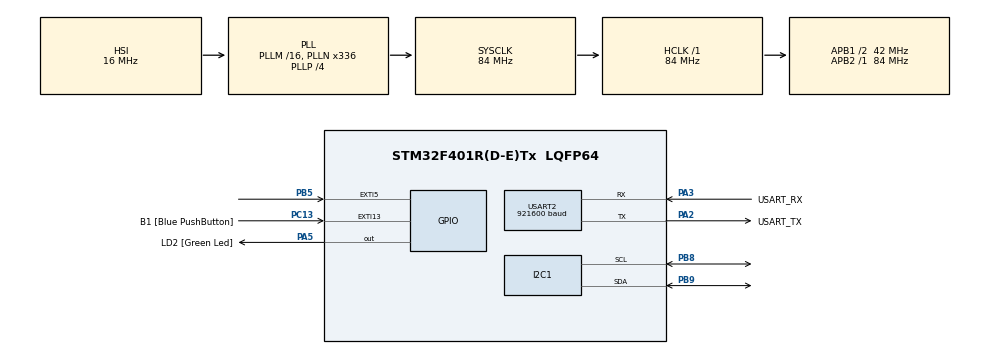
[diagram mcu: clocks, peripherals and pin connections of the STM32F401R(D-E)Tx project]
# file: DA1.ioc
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I2C1.I2C_Mode=I2C_Fast
Mcu.Family=STM32F4
Mcu.Name=STM32F401R(D-E)Tx
Mcu.Package=LQFP64
NVIC.EXTI9_5_IRQn=true\:0\:0\:false\:false\:true\:true\:true\:true
NVIC.PriorityGroup=NVIC_PRIORITYGROUP_4
PA13.GPIO_Label=TMS
PA13.Mode=Trace_Asynchronous_SW
PA13.Signal=SYS_JTMS-SWDIO
PA14.GPIO_Label=TCK
PA14.Mode=Trace_Asynchronous_SW
PA14.Signal=SYS_JTCK-SWCLK
PA2.GPIO_Label=USART_TX
PA2.GPIO_Mode=GPIO_MODE_AF_PP
PA2.GPIO_PuPd=GPIO_NOPULL
PA2.GPIO_Speed=GPIO_SPEED_FREQ_LOW
PA2.Mode=Asynchronous
PA2.Signal=USART2_TX
PA3.GPIO_Label=USART_RX
PA3.GPIO_Mode=GPIO_MODE_AF_PP
PA3.GPIO_PuPd=GPIO_NOPULL
PA3.GPIO_Speed=GPIO_SPEED_FREQ_LOW
PA3.Mode=Asynchronous
PA3.Signal=USART2_RX
PA5.GPIO_Label=LD2 [Green Led]
PA5.GPIO_Mode=GPIO_MODE_OUTPUT_PP
PA5.GPIO_PuPd=GPIO_NOPULL
PA5.GPIO_Speed=GPIO_SPEED_FREQ_LOW
PA5.Signal=GPIO_Output
PB3.GPIO_Label=SWO
PB3.Mode=Trace_Asynchronous_SW
PB3.Signal=SYS_JTDO-SWO
PB5.Signal=GPXTI5
PB8.Mode=I2C
PB8.Signal=I2C1_SCL
PB9.Mode=I2C
PB9.Signal=I2C1_SDA
PC13-ANTI_TAMP.GPIO_Label=B1 [Blue PushButton]
PC13-ANTI_TAMP.GPIO_ModeDefaultEXTI=GPIO_MODE_IT_FALLING
PC13-ANTI_TAMP.GPIO_PuPd=GPIO_NOPULL
PC13-ANTI_TAMP.Signal=GPXTI13
PC14-OSC32_IN.Mode=LSE-External-Oscillator
PC14-OSC32_IN.Signal=RCC_OSC32_IN
PC15-OSC32_OUT.Mode=LSE-External-Oscillator
PC15-OSC32_OUT.Signal=RCC_OSC32_OUT
PH0\ -\ OSC_IN.Mode=HSE-External-Clock-Source
PH0\ -\ OSC_IN.Signal=RCC_OSC_IN
PH1\ -\ OSC_OUT.Mode=HSE-External-Clock-Source
PH1\ -\ OSC_OUT.Signal=RCC_OSC_OUT
ProjectManager.HeapSize=0x200
ProjectManager.StackSize=0x400
ProjectManager.TargetToolchain=STM32CubeIDE
RCC.48MHZClocksFreq_Value=48000000
RCC.AHBFreq_Value=84000000
RCC.APB1CLKDivider=RCC_HCLK_DIV2
RCC.APB1Freq_Value=42000000
RCC.APB1TimFreq_Value=84000000
RCC.APB2Freq_Value=84000000
RCC.APB2TimFreq_Value=84000000
RCC.CortexFreq_Value=84000000
RCC.HCLKFreq_Value=84000000
RCC.HSE_VALUE=8000000
RCC.HSI_VALUE=16000000
RCC.PLLN=336
RCC.PLLP=RCC_PLLP_DIV4
RCC.PLLQ=7
RCC.SYSCLKFreq_VALUE=84000000
RCC.SYSCLKSource=RCC_SYSCLKSOURCE_PLLCLK
RCC.VCOOutputFreq_Value=336000000
TIM2.Prescaler=83
USART2.BaudRate=921600
USART2.VirtualMode=VM_ASYNC
VP_TIM2_VS_ClockSourceINT.Mode=Internal
board=NUCLEO-F401RE

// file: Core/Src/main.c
/* USER CODE BEGIN Header */
/**
  ******************************************************************************
  * @file           : main.c
  * @brief          : Main program body
  ******************************************************************************
  * @attention
  *
  * Copyright (c) 2026 STMicroelectronics.
  * All rights reserved.
  *
  * This software is licensed under terms that can be found in the LICENSE file
  * in the root directory of this software component.
  * If no LICENSE file comes with this software, it is provided AS-IS.
  *
  ******************************************************************************
  */
/* USER CODE END Header */
#include "main.h"

/* USER CODE BEGIN Includes */
#include <stdio.h>
#include <string.h>
#include <math.h>
/* USER CODE END Includes */

/* USER CODE BEGIN PD */

/* ---- Build mode -----------------------------------------------------------
 * CAL_MODE 1 : stream min/max/sum trackers for manual calibration
 * CAL_MODE 0 : stream full CSV (raw, Euler, quaternion) for data collection
 */
#define CAL_MODE            0

/* ---- LSM6DSV16X (accel + gyro) -------------------------------------------- */
#define LSM6DSV16X_ADDR         (0x6BU << 1)   /* 0xD4 */
#define LSM6DSV16X_WHO_AM_I     0x0FU
#define LSM6DSV16X_EXPECTED_ID  0x70U
#define LSM6DSV16X_INT1_CTRL    0x0DU
#define LSM6DSV16X_CTRL1_XL     0x10U   /* accel op-mode + ODR          */
#define LSM6DSV16X_CTRL2_G      0x11U   /* gyro  op-mode + ODR          */
#define LSM6DSV16X_CTRL3        0x12U   /* BDU, IF_INC                  */
#define LSM6DSV16X_CTRL6        0x15U   /* gyro  full-scale + LPF1 BW   */
#define LSM6DSV16X_CTRL8        0x17U   /* accel full-scale + filter BW */
#define LSM6DSV16X_STATUS_REG   0x1EU
#define LSM6DSV16X_OUTX_L_G     0x22U   /* gyro X..Z then accel X..Z    */

/* CTRL1_XL / CTRL2_G: bits[6:4] = op mode (000 = high-performance)
 *                     bits[3:0] = ODR
 *   0x07 = 240 Hz   0x08 = 480 Hz   0x09 = 960 Hz   0x0A = 1920 Hz
 *   0x0B = 3840 Hz  0x0C = 7680 Hz (HP mode only)                       */
#define LSM6DSV16X_ODR_HP_240HZ   0x07U
#define LSM6DSV16X_ODR_HP_480HZ   0x08U
#define LSM6DSV16X_ODR_HP_960HZ   0x09U
#define LSM6DSV16X_ODR_HP_1920HZ  0x0AU

#define IMU_ODR_REG_VALUE       LSM6DSV16X_ODR_HP_240HZ  /* raise later */

/* CTRL8 FS_XL[1:0]: 00=±2g 01=±4g 10=±8g 11=±16g */
#define LSM6DSV16X_FS_XL_8G     0x02U
/* CTRL6 FS_G[3:0]: 0000=±125 0001=±250 0010=±500 0011=±1000 0100=±2000 dps */
#define LSM6DSV16X_FS_G_2000DPS 0x04U

/* Sensitivities matching the full-scales above */
#define ACC_SENS_MS2_PER_LSB    (0.244e-3f * 9.80665f)  /* ±8 g    */
#define GYRO_SENS_DPS_PER_LSB   0.070f                  /* ±2000 dps */
#define MAG_SENS_UT_PER_LSB     0.15f                   /* LIS2MDL fixed */

/* ---- LIS2MDL (magnetometer) ----------------------------------------------- */
#define LIS2MDL_ADDR        (0x1EU << 1)  /* 0x3C */
#define LIS2MDL_WHO_AM_I    0x4FU
#define LIS2MDL_EXPECTED_ID 0x40U
#define LIS2MDL_CFG_REG_A   0x60U
#define LIS2MDL_CFG_REG_B   0x61U
#define LIS2MDL_CFG_REG_C   0x62U
#define LIS2MDL_STATUS_REG  0x67U
#define LIS2MDL_OUTX_L      0x68U
#define LIS2MDL_NEW_XYZ     0x08U
#define MAG_I2C_TIMEOUT_MS  100U

/* If no DRDY interrupt arrives within this many ms, fall back to polling
 * so the loop never hangs while you debug the INT1 wiring. */
#define DRDY_TIMEOUT_MS     20U

/* USER CODE END PD */

I2C_HandleTypeDef hi2c1;

TIM_HandleTypeDef htim2;

UART_HandleTypeDef huart2;

/* USER CODE BEGIN PV */
#define PI    3.14159265f
#define ALPHA 0.98f
#define G_MS2 9.80665f

/* Interrupt bookkeeping (shared with ISR -> volatile) */
volatile uint8_t  imu_data_ready    = 0;
volatile uint32_t imu_irq_count     = 0;
volatile uint32_t drdy_timeout_count = 0;

float roll = 0.0f;
float pitch = 0.0f;
float yaw = 0.0f;
uint32_t lastTick = 0;

/* Initial state: no rotation (identity quaternion) */
float q_w = 1.0f;
float q_x = 0.0f;
float q_y = 0.0f;
float q_z = 0.0f;

float gyro_x_sum = 0.0f, gyro_y_sum = 0.0f, gyro_z_sum = 0.0f;
uint32_t gyro_sample_count = 0;

/* Accelerometer max/min trackers */
float ax_max = -999.0f, ax_min = 999.0f;
float ay_max = -999.0f, ay_min = 999.0f;
float az_max = -999.0f, az_min = 999.0f;

/* Magnetometer max/min trackers */
float mx_max = -9999.0f, mx_min = 9999.0f;
float my_max = -9999.0f, my_min = 9999.0f;
float mz_max = -9999.0f, mz_min = 9999.0f;

// ---- Calibration constants -----------------------------------------------

// s = (max - min)/2
// b = (max + min)/2
float acc_x_bias = -0.019;
float acc_x_scale = 0.088; // 1/11.337

float acc_y_bias = -0.153;
float acc_y_scale = 0.0964; // 1/10.373

float acc_z_bias = 0.250;
float acc_z_scale = 0.0798; // 1/12.53

float mag_x_bias = -38.025;
float mag_x_scale = 0.912; // 1/1.096

float mag_y_bias = 8.55;
float mag_y_scale = 1.019; // 1/0.981

float mag_z_bias = -7.275;
float mag_z_scale = 1.0835; // 1/0.9229

float gyro_x_bias = 2.89;
float gyro_y_bias = -4.43;
float gyro_z_bias = -3.63;

/* USER CODE END PV */

void SystemClock_Config(void);
static void MX_GPIO_Init(void);
static void MX_I2C1_Init(void);
static void MX_USART2_UART_Init(void);
static void MX_TIM2_Init(void);
/* USER CODE BEGIN PFP */
static HAL_StatusTypeDef IMU_WriteReg(uint16_t dev, uint8_t reg, uint8_t val);
static HAL_StatusTypeDef IMU_ReadReg(uint16_t dev, uint8_t reg, uint8_t *val);
static void UART_Print(const char *s);
static float WrapDeg(float a);
/* USER CODE END PFP */

/* USER CODE BEGIN 0 */
static HAL_StatusTypeDef IMU_WriteReg(uint16_t dev, uint8_t reg, uint8_t val)
{
  return HAL_I2C_Mem_Write(&hi2c1, dev, reg, I2C_MEMADD_SIZE_8BIT, &val, 1, HAL_MAX_DELAY);
}

static HAL_StatusTypeDef IMU_ReadReg(uint16_t dev, uint8_t reg, uint8_t *val)
{
  return HAL_I2C_Mem_Read(&hi2c1, dev, reg, I2C_MEMADD_SIZE_8BIT, val, 1, HAL_MAX_DELAY);
}

static void UART_Print(const char *s)
{
  HAL_UART_Transmit(&huart2, (uint8_t*)s, strlen(s), HAL_MAX_DELAY);
}

static float WrapDeg(float a)
{
  while (a >  180.0f) a -= 360.0f;
  while (a < -180.0f) a += 360.0f;
  return a;
}
/* USER CODE END 0 */

int main(void)
{

  /* USER CODE BEGIN 1 */
  uint8_t raw_data[12];
  uint8_t mag_raw_data[7];          /* STATUS + 6 data bytes in one read */
  int16_t gyro_x, gyro_y, gyro_z;
  int16_t accel_x, accel_y, accel_z;
  int16_t mag_x = 0, mag_y = 0, mag_z = 0;
  char uart_buff[256];

  float gyro_x_dps, gyro_y_dps, gyro_z_dps;
  float accel_x_ms2, accel_y_ms2, accel_z_ms2;
  float mag_x_uT = 0.0f, mag_y_uT = 0.0f, mag_z_uT = 0.0f;
  uint8_t who = 0;
  /* USER CODE END 1 */

  /* MCU Configuration--------------------------------------------------------*/

  /* Reset of all peripherals, Initializes the Flash interface and the Systick. */
  HAL_Init();

  /* Configure the system clock */
  SystemClock_Config();

  /* Initialize all configured peripherals */
  MX_GPIO_Init();
  MX_I2C1_Init();
  MX_USART2_UART_Init();
  MX_TIM2_Init();
  /* USER CODE BEGIN 2 */
  HAL_TIM_Base_Start(&htim2);

  /* ---- Sanity check: are both sensors on the bus? ---- */
  if (IMU_ReadReg(LSM6DSV16X_ADDR, LSM6DSV16X_WHO_AM_I, &who) != HAL_OK || who != LSM6DSV16X_EXPECTED_ID)
  {
    snprintf(uart_buff, sizeof(uart_buff), "ERR: LSM6DSV16X WHO_AM_I = 0x%02X (expected 0x70)\r\n", who);
    UART_Print(uart_buff);
    Error_Handler();
  }
  if (IMU_ReadReg(LIS2MDL_ADDR, LIS2MDL_WHO_AM_I, &who) != HAL_OK || who != LIS2MDL_EXPECTED_ID)
  {
    snprintf(uart_buff, sizeof(uart_buff), "ERR: LIS2MDL WHO_AM_I = 0x%02X (expected 0x40)\r\n", who);
    UART_Print(uart_buff);
    Error_Handler();
  }

  /* ---- LSM6DSV16X configuration ----
   * Order matters: set full-scale and BDU first, then turn on ODR, then
   * route DRDY to INT1. */
  IMU_WriteReg(LSM6DSV16X_ADDR, LSM6DSV16X_CTRL3,    0x44);   /* BDU=1, IF_INC=1 (auto-increment) */
  IMU_WriteReg(LSM6DSV16X_ADDR, LSM6DSV16X_CTRL8,    LSM6DSV16X_FS_XL_8G);
  IMU_WriteReg(LSM6DSV16X_ADDR, LSM6DSV16X_CTRL6,    LSM6DSV16X_FS_G_2000DPS);
  IMU_WriteReg(LSM6DSV16X_ADDR, LSM6DSV16X_CTRL1_XL, IMU_ODR_REG_VALUE);   /* HP mode, 240 Hz */
  IMU_WriteReg(LSM6DSV16X_ADDR, LSM6DSV16X_CTRL2_G,  IMU_ODR_REG_VALUE);   /* HP mode, 240 Hz */
  HAL_Delay(50);   /* let the gyro settle */

  /* INT1_CTRL: bit0 = INT1_DRDY_XL, bit1 = INT1_DRDY_G */
  IMU_WriteReg(LSM6DSV16X_ADDR, LSM6DSV16X_INT1_CTRL, 0x03);

  /* ---- LIS2MDL configuration ----
   * CFG_REG_A = 0x8C : COMP_TEMP_EN=1, ODR=100 Hz, continuous mode
   * CFG_REG_C = 0x10 : BDU=1 */
  IMU_WriteReg(LIS2MDL_ADDR, LIS2MDL_CFG_REG_A, 0x8C);
  IMU_WriteReg(LIS2MDL_ADDR, LIS2MDL_CFG_REG_C, 0x10);
  HAL_Delay(50);

  /* Clear any stale interrupt/data, then start timing */
  HAL_I2C_Mem_Read(&hi2c1, LSM6DSV16X_ADDR, LSM6DSV16X_OUTX_L_G, I2C_MEMADD_SIZE_8BIT, raw_data, 12, HAL_MAX_DELAY);
  imu_data_ready = 0;
  lastTick = __HAL_TIM_GET_COUNTER(&htim2);

#if CAL_MODE
  UART_Print("ax_min,ax_max,ay_min,ay_max,az_min,az_max,mx_min,mx_max,my_min,my_max,mz_min,mz_max,gx_sum,gy_sum,gz_sum,n\r\n");
#else
  UART_Print("t_us,ax,ay,az,gx,gy,gz,mx,my,mz,roll,pitch,yaw,qw,qx,qy,qz\r\n");
#endif
  /* USER CODE END 2 */

  /* Infinite loop */
  /* USER CODE BEGIN WHILE */
  while (1)
  {
    /* ---- Blue button (PC13): reset calibration trackers ---- */
    if (HAL_GPIO_ReadPin(B1_GPIO_Port, B1_Pin) == GPIO_PIN_RESET)
    {
      ax_max = -999.0f;  ax_min = 999.0f;
      ay_max = -999.0f;  ay_min = 999.0f;
      az_max = -999.0f;  az_min = 999.0f;
      mx_max = -9999.0f; mx_min = 9999.0f;
      my_max = -9999.0f; my_min = 9999.0f;
      mz_max = -9999.0f; mz_min = 9999.0f;
      gyro_x_sum = 0.0f; gyro_y_sum = 0.0f; gyro_z_sum = 0.0f;
      gyro_sample_count = 0;
      HAL_Delay(200);   // debounce
    }

    /* ---- Wait for DRDY interrupt (with polling fallback) ---- */
    uint32_t wait_start = HAL_GetTick();
    while (!imu_data_ready)
    {
      if ((HAL_GetTick() - wait_start) >= DRDY_TIMEOUT_MS)
      {
        /* No interrupt arrived. Either INT1 is not wired to PB5, or the
         * sensor is not sampling. Poll STATUS_REG so we keep running. */
        uint8_t status = 0;
        IMU_ReadReg(LSM6DSV16X_ADDR, LSM6DSV16X_STATUS_REG, &status);
        drdy_timeout_count++;
        if (status & 0x03) break;      /* XLDA or GDA set -> data available */
        wait_start = HAL_GetTick();
      }
    }
    imu_data_ready = 0;

    /* Timestamp as close to the sample as possible */
    uint32_t currentTick = __HAL_TIM_GET_COUNTER(&htim2);
    uint32_t elapsedTick = currentTick - lastTick;   /* uint32 wrap-safe */
    lastTick = currentTick;
    float dt = (float)elapsedTick / 1000000.0f;
    if (dt <= 0.0f || dt > 0.5f) dt = 1.0f / 240.0f;

    /* ---- Read 12 bytes: gyro X,Y,Z then accel X,Y,Z ---- */
    if (HAL_I2C_Mem_Read(&hi2c1, LSM6DSV16X_ADDR, LSM6DSV16X_OUTX_L_G,
                         I2C_MEMADD_SIZE_8BIT, raw_data, 12, HAL_MAX_DELAY) != HAL_OK)
    {
      continue;
    }

    /* ---- Read mag STATUS + 6 data bytes in one transaction.
     * Only update mag values when the sensor flags new XYZ data (mag runs
     * at 100 Hz, IMU at 240 Hz+), otherwise reuse the last sample. ---- */
    if (HAL_I2C_Mem_Read(&hi2c1, LIS2MDL_ADDR, LIS2MDL_STATUS_REG,
                         I2C_MEMADD_SIZE_8BIT, mag_raw_data, sizeof(mag_raw_data),
                         MAG_I2C_TIMEOUT_MS) == HAL_OK
        && (mag_raw_data[0] & LIS2MDL_NEW_XYZ))
    {
      mag_x = (int16_t)((uint16_t)mag_raw_data[1] | ((uint16_t)mag_raw_data[2] << 8));
      mag_y = (int16_t)((uint16_t)mag_raw_data[3] | ((uint16_t)mag_raw_data[4] << 8));
      mag_z = (int16_t)((uint16_t)mag_raw_data[5] | ((uint16_t)mag_raw_data[6] << 8));
      mag_x_uT = (float)mag_x * MAG_SENS_UT_PER_LSB;
      mag_y_uT = (float)mag_y * MAG_SENS_UT_PER_LSB;
      mag_z_uT = (float)mag_z * MAG_SENS_UT_PER_LSB;
    }

    /* Reconstruct little-endian 16-bit values */
    gyro_x  = (int16_t)((uint16_t)raw_data[0]  | ((uint16_t)raw_data[1]  << 8));
    gyro_y  = (int16_t)((uint16_t)raw_data[2]  | ((uint16_t)raw_data[3]  << 8));
    gyro_z  = (int16_t)((uint16_t)raw_data[4]  | ((uint16_t)raw_data[5]  << 8));
    accel_x = (int16_t)((uint16_t)raw_data[6]  | ((uint16_t)raw_data[7]  << 8));
    accel_y = (int16_t)((uint16_t)raw_data[8]  | ((uint16_t)raw_data[9]  << 8));
    accel_z = (int16_t)((uint16_t)raw_data[10] | ((uint16_t)raw_data[11] << 8));

    /* Scale to physical units */
    gyro_x_dps  = (float)gyro_x  * GYRO_SENS_DPS_PER_LSB;
    gyro_y_dps  = (float)gyro_y  * GYRO_SENS_DPS_PER_LSB;
    gyro_z_dps  = (float)gyro_z  * GYRO_SENS_DPS_PER_LSB;
    accel_x_ms2 = (float)accel_x * ACC_SENS_MS2_PER_LSB;
    accel_y_ms2 = (float)accel_y * ACC_SENS_MS2_PER_LSB;
    accel_z_ms2 = (float)accel_z * ACC_SENS_MS2_PER_LSB;

    /* ---- Apply calibration (bias subtract, then scale multiply) ---- */
    float accel_x_true = (accel_x_ms2 - acc_x_bias) * acc_x_scale * G_MS2;
    float accel_y_true = (accel_y_ms2 - acc_y_bias) * acc_y_scale * G_MS2;
    float accel_z_true = (accel_z_ms2 - acc_z_bias) * acc_z_scale * G_MS2;

    float mag_x_true = (mag_x_uT - mag_x_bias) * mag_x_scale;
    float mag_y_true = (mag_y_uT - mag_y_bias) * mag_y_scale;
    float mag_z_true = (mag_z_uT - mag_z_bias) * mag_z_scale;

    float gyro_x_true = gyro_x_dps - gyro_x_bias;
    float gyro_y_true = gyro_y_dps - gyro_y_bias;
    float gyro_z_true = gyro_z_dps - gyro_z_bias;

    /* ---- Accelerometer static angles ---- */
    float roll_acc  = atan2f(accel_y_true, accel_z_true) * (180.0f / PI);
    float pitch_acc = atan2f(-accel_x_true,
                             sqrtf(accel_y_true * accel_y_true + accel_z_true * accel_z_true)) * (180.0f / PI);

    /* ---- Complementary filter: roll & pitch ---- */
    roll  = ALPHA * (roll  + gyro_x_true * dt) + (1.0f - ALPHA) * roll_acc;
    pitch = ALPHA * (pitch + gyro_y_true * dt) + (1.0f - ALPHA) * pitch_acc;

    float phi   = roll  * (PI / 180.0f);
    float theta = pitch * (PI / 180.0f);

    /* ---- Tilt-compensated magnetic heading ----
     * Standard formulation (NED-style, x forward, y right, z down):
     *   Xh =  mx*cos(theta) + mz*sin(theta)
     *   Yh =  mx*sin(phi)*sin(theta) + my*cos(phi) - mz*sin(phi)*cos(theta)
     *   psi = atan2(-Yh, Xh)
     * If yaw moves the wrong direction or is offset by 90/180 deg, the LIS2MDL
     * axes on the shield are not aligned with the LSM6DSV16X axes -- swap or
     * negate mx/my/mz here to match. */
    float Xh = mag_x_true * cosf(theta) + mag_z_true * sinf(theta);
    float Yh = mag_x_true * sinf(phi) * sinf(theta) + mag_y_true * cosf(phi)
             - mag_z_true * sinf(phi) * cosf(theta);
    float psi = atan2f(-Yh, Xh) * (180.0f / PI);

    /* Complementary filter on yaw, blending through the ±180 wrap correctly */
    float yaw_gyro = yaw + gyro_z_true * dt;
    float yaw_err  = WrapDeg(psi - yaw_gyro);
    yaw = WrapDeg(yaw_gyro + (1.0f - ALPHA) * yaw_err);

    roll  = WrapDeg(roll);
    pitch = WrapDeg(pitch);

    /* ---- Quaternion ---- */
    /* 1. gyro rates in rad/s */
    float wx = gyro_x_true * (PI / 180.0f);
    float wy = gyro_y_true * (PI / 180.0f);
    float wz = gyro_z_true * (PI / 180.0f);

    /* 2. quaternion derivative  q_dot = 0.5 * q (x) [0, w] */
    float q_dot_w = 0.5f * (-q_x * wx - q_y * wy - q_z * wz);
    float q_dot_x = 0.5f * ( q_w * wx + q_y * wz - q_z * wy);
    float q_dot_y = 0.5f * ( q_w * wy - q_x * wz + q_z * wx);
    float q_dot_z = 0.5f * ( q_w * wz + q_x * wy - q_y * wx);

    /* 3. gyro-propagated quaternion */
    float qg_w = q_w + q_dot_w * dt;
    float qg_x = q_x + q_dot_x * dt;
    float qg_y = q_y + q_dot_y * dt;
    float qg_z = q_z + q_dot_z * dt;

    /* 4. reference quaternion from fused Euler angles (half angles) */
    float r_half = roll  * (PI / 360.0f);
    float p_half = pitch * (PI / 360.0f);
    float y_half = yaw   * (PI / 360.0f);
    float cr = cosf(r_half), sr = sinf(r_half);
    float cp = cosf(p_half), sp = sinf(p_half);
    float cy = cosf(y_half), sy = sinf(y_half);

    float qa_w = cy * cp * cr + sy * sp * sr;
    float qa_x = cy * cp * sr - sy * sp * cr;
    float qa_y = cy * sp * cr + sy * cp * sr;
    float qa_z = sy * cp * cr - cy * sp * sr;

    /* 5. blend (keep both on the same hemisphere so the average is sane) */
    if ((qg_w * qa_w + qg_x * qa_x + qg_y * qa_y + qg_z * qa_z) < 0.0f)
    {
      qa_w = -qa_w; qa_x = -qa_x; qa_y = -qa_y; qa_z = -qa_z;
    }
    q_w = ALPHA * qg_w + (1.0f - ALPHA) * qa_w;
    q_x = ALPHA * qg_x + (1.0f - ALPHA) * qa_x;
    q_y = ALPHA * qg_y + (1.0f - ALPHA) * qa_y;
    q_z = ALPHA * qg_z + (1.0f - ALPHA) * qa_z;

    /* 6. renormalize */
    float norm = sqrtf(q_w * q_w + q_x * q_x + q_y * q_y + q_z * q_z);
    if (norm > 0.0f)
    {
      q_w /= norm; q_x /= norm; q_y /= norm; q_z /= norm;
    }

    /* ---- Calibration trackers (always updated; only printed in CAL_MODE) ---- */
    gyro_x_sum += gyro_x_dps;
    gyro_y_sum += gyro_y_dps;
    gyro_z_sum += gyro_z_dps;
    gyro_sample_count++;

    if (accel_x_ms2 > ax_max) ax_max = accel_x_ms2;
    if (accel_x_ms2 < ax_min) ax_min = accel_x_ms2;
    if (accel_y_ms2 > ay_max) ay_max = accel_y_ms2;
    if (accel_y_ms2 < ay_min) ay_min = accel_y_ms2;
    if (accel_z_ms2 > az_max) az_max = accel_z_ms2;
    if (accel_z_ms2 < az_min) az_min = accel_z_ms2;

    if (mag_x_uT > mx_max) mx_max = mag_x_uT;
    if (mag_x_uT < mx_min) mx_min = mag_x_uT;
    if (mag_y_uT > my_max) my_max = mag_y_uT;
    if (mag_y_uT < my_min) my_min = mag_y_uT;
    if (mag_z_uT > mz_max) mz_max = mag_z_uT;
    if (mag_z_uT < mz_min) mz_min = mag_z_uT;

    /* ---- Output ---- */
#if CAL_MODE
    /* Print at ~10 Hz so the terminal stays readable */
    if ((gyro_sample_count % 24U) == 0U)
    {
      snprintf(uart_buff, sizeof(uart_buff),
               "%.3f,%.3f,%.3f,%.3f,%.3f,%.3f,%.2f,%.2f,%.2f,%.2f,%.2f,%.2f,%.2f,%.2f,%.2f,%lu\r\n",
               ax_min, ax_max, ay_min, ay_max, az_min, az_max,
               mx_min, mx_max, my_min, my_max, mz_min, mz_max,
               gyro_x_sum, gyro_y_sum, gyro_z_sum,
               (unsigned long)gyro_sample_count);
      UART_Print(uart_buff);
    }
#else
    /* Full CSV row: calibrated raw data, Euler angles, quaternion */
    snprintf(uart_buff, sizeof(uart_buff),
             "%.3f,%.3f,%.3f,%.2f,%.2f,%.2f,%.2f,%.2f,%.2f,%.2f,%.2f,%.2f,%.4f,%.4f,%.4f,%.4f\r\n",
             accel_x_true, accel_y_true, accel_z_true,
             gyro_x_true, gyro_y_true, gyro_z_true,
             mag_x_true, mag_y_true, mag_z_true,
             roll, pitch, yaw,
             q_w, q_x, q_y, q_z);
    UART_Print(uart_buff);
#endif

    /* USER CODE END WHILE */

  }
}

void SystemClock_Config(void)
{
  RCC_OscInitTypeDef RCC_OscInitStruct = {0};
  RCC_ClkInitTypeDef RCC_ClkInitStruct = {0};

  /** Configure the main internal regulator output voltage
  */
  __HAL_RCC_PWR_CLK_ENABLE();
  __HAL_PWR_VOLTAGESCALING_CONFIG(PWR_REGULATOR_VOLTAGE_SCALE2);

  /** Initializes the RCC Oscillators according to the specified parameters
  * in the RCC_OscInitTypeDef structure.
  */
  RCC_OscInitStruct.OscillatorType = RCC_OSCILLATORTYPE_HSI;
  RCC_OscInitStruct.HSIState = RCC_HSI_ON;
  RCC_OscInitStruct.HSICalibrationValue = RCC_HSICALIBRATION_DEFAULT;
  RCC_OscInitStruct.PLL.PLLState = RCC_PLL_ON;
  RCC_OscInitStruct.PLL.PLLSource = RCC_PLLSOURCE_HSI;
  RCC_OscInitStruct.PLL.PLLM = 16;
  RCC_OscInitStruct.PLL.PLLN = 336;
  RCC_OscInitStruct.PLL.PLLP = RCC_PLLP_DIV4;
  RCC_OscInitStruct.PLL.PLLQ = 7;
  if (HAL_RCC_OscConfig(&RCC_OscInitStruct) != HAL_OK)
  {
    Error_Handler();
  }

  /** Initializes the CPU, AHB and APB buses clocks
  */
  RCC_ClkInitStruct.ClockType = RCC_CLOCKTYPE_HCLK|RCC_CLOCKTYPE_SYSCLK
                              |RCC_CLOCKTYPE_PCLK1|RCC_CLOCKTYPE_PCLK2;
  RCC_ClkInitStruct.SYSCLKSource = RCC_SYSCLKSOURCE_PLLCLK;
  RCC_ClkInitStruct.AHBCLKDivider = RCC_SYSCLK_DIV1;
  RCC_ClkInitStruct.APB1CLKDivider = RCC_HCLK_DIV2;
  RCC_ClkInitStruct.APB2CLKDivider = RCC_HCLK_DIV1;

  if (HAL_RCC_ClockConfig(&RCC_ClkInitStruct, FLASH_LATENCY_2) != HAL_OK)
  {
    Error_Handler();
  }
}

static void MX_I2C1_Init(void)
{

  hi2c1.Instance = I2C1;
  hi2c1.Init.ClockSpeed = 400000;
  hi2c1.Init.DutyCycle = I2C_DUTYCYCLE_2;
  hi2c1.Init.OwnAddress1 = 0;
  hi2c1.Init.AddressingMode = I2C_ADDRESSINGMODE_7BIT;
  hi2c1.Init.DualAddressMode = I2C_DUALADDRESS_DISABLE;
  hi2c1.Init.OwnAddress2 = 0;
  hi2c1.Init.GeneralCallMode = I2C_GENERALCALL_DISABLE;
  hi2c1.Init.NoStretchMode = I2C_NOSTRETCH_DISABLE;
  if (HAL_I2C_Init(&hi2c1) != HAL_OK)
  {
    Error_Handler();
  }

}

static void MX_TIM2_Init(void)
{

  TIM_ClockConfigTypeDef sClockSourceConfig = {0};
  TIM_MasterConfigTypeDef sMasterConfig = {0};

  htim2.Instance = TIM2;
  htim2.Init.Prescaler = 83;
  htim2.Init.CounterMode = TIM_COUNTERMODE_UP;
  htim2.Init.Period = 4294967295;
  htim2.Init.ClockDivision = TIM_CLOCKDIVISION_DIV1;
  htim2.Init.AutoReloadPreload = TIM_AUTORELOAD_PRELOAD_DISABLE;
  if (HAL_TIM_Base_Init(&htim2) != HAL_OK)
  {
    Error_Handler();
  }
  sClockSourceConfig.ClockSource = TIM_CLOCKSOURCE_INTERNAL;
  if (HAL_TIM_ConfigClockSource(&htim2, &sClockSourceConfig) != HAL_OK)
  {
    Error_Handler();
  }
  sMasterConfig.MasterOutputTrigger = TIM_TRGO_RESET;
  sMasterConfig.MasterSlaveMode = TIM_MASTERSLAVEMODE_DISABLE;
  if (HAL_TIMEx_MasterConfigSynchronization(&htim2, &sMasterConfig) != HAL_OK)
  {
    Error_Handler();
  }

}

static void MX_USART2_UART_Init(void)
{

  huart2.Instance = USART2;
  huart2.Init.BaudRate = 921600;
  huart2.Init.WordLength = UART_WORDLENGTH_8B;
  huart2.Init.StopBits = UART_STOPBITS_1;
  huart2.Init.Parity = UART_PARITY_NONE;
  huart2.Init.Mode = UART_MODE_TX_RX;
  huart2.Init.HwFlowCtl = UART_HWCONTROL_NONE;
  huart2.Init.OverSampling = UART_OVERSAMPLING_16;
  if (HAL_UART_Init(&huart2) != HAL_OK)
  {
    Error_Handler();
  }

}

static void MX_GPIO_Init(void)
{
  GPIO_InitTypeDef GPIO_InitStruct = {0};

  /* GPIO Ports Clock Enable */
  __HAL_RCC_GPIOC_CLK_ENABLE();
  __HAL_RCC_GPIOH_CLK_ENABLE();
  __HAL_RCC_GPIOA_CLK_ENABLE();
  __HAL_RCC_GPIOB_CLK_ENABLE();

  /*Configure GPIO pin Output Level */
  HAL_GPIO_WritePin(LD2_GPIO_Port, LD2_Pin, GPIO_PIN_RESET);

  /*Configure GPIO pin : B1_Pin */
  GPIO_InitStruct.Pin = B1_Pin;
  GPIO_InitStruct.Mode = GPIO_MODE_IT_FALLING;
  GPIO_InitStruct.Pull = GPIO_NOPULL;
  HAL_GPIO_Init(B1_GPIO_Port, &GPIO_InitStruct);

  /*Configure GPIO pin : LD2_Pin */
  GPIO_InitStruct.Pin = LD2_Pin;
  GPIO_InitStruct.Mode = GPIO_MODE_OUTPUT_PP;
  GPIO_InitStruct.Pull = GPIO_NOPULL;
  GPIO_InitStruct.Speed = GPIO_SPEED_FREQ_LOW;
  HAL_GPIO_Init(LD2_GPIO_Port, &GPIO_InitStruct);

  /*Configure GPIO pin : PB5 (LSM6DSV16X INT1 / Arduino D4) */
  GPIO_InitStruct.Pin = GPIO_PIN_5;
  GPIO_InitStruct.Mode = GPIO_MODE_IT_RISING;
  GPIO_InitStruct.Pull = GPIO_NOPULL;
  HAL_GPIO_Init(GPIOB, &GPIO_InitStruct);

  /* EXTI interrupt init*/
  HAL_NVIC_SetPriority(EXTI9_5_IRQn, 0, 0);
  HAL_NVIC_EnableIRQ(EXTI9_5_IRQn);

}

/* USER CODE BEGIN 4 */

/**
  * @brief  EXTI callback. Requires EXTI9_5_IRQHandler() in stm32f4xx_it.c to
  *         call HAL_GPIO_EXTI_IRQHandler(GPIO_PIN_5) -- CubeMX generates this
  *         when PB5 is set to GPIO_EXTI5 and its NVIC line is enabled.
  */
void HAL_GPIO_EXTI_Callback(uint16_t GPIO_Pin)
{
  if (GPIO_Pin == GPIO_PIN_5)
  {
    imu_irq_count++;
    imu_data_ready = 1;
    HAL_GPIO_TogglePin(LD2_GPIO_Port, LD2_Pin);   /* visual heartbeat: LED flickers at ODR/2 */
  }
}
/* USER CODE END 4 */

void Error_Handler(void)
{
  /* USER CODE BEGIN Error_Handler_Debug */
  /* User can add his own implementation to report the HAL error return state */
  __disable_irq();
  while (1)
  {
    /* Fast blink so a sensor/WHO_AM_I failure is visible without a debugger */
    HAL_GPIO_TogglePin(LD2_GPIO_Port, LD2_Pin);
    for (volatile uint32_t i = 0; i < 400000; i++) { }
  }
  /* USER CODE END Error_Handler_Debug */
}
